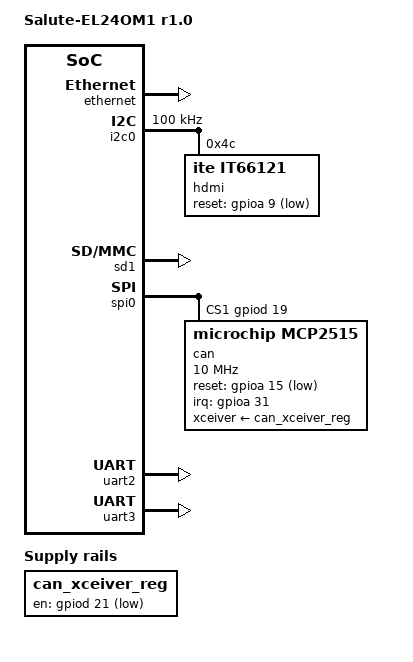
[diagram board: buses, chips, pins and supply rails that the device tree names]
/*
 * Copyright 2017 RnD Center "ELVEES", OJSC
 *
 * This program is free software; you can redistribute it and/or modify
 * it under the terms of the GNU General Public License version 2 as
 * published by the Free Software Foundation.
 */

/dts-v1/;

#include <dt-bindings/interrupt-controller/irq.h>

#include "mcom02-salute-el24pm1-r1.0.dtsi"

/ {
	model = "Salute-EL24OM1 r1.0";

	chosen {
		bootargs = "console=ttyS0,115200";
	};

	aliases {
		spi0 = &spi0;
	};

	clocks {
		can_clk: can_clk {
			#clock-cells = <0>;
			compatible = "fixed-clock";
			clock-frequency = <8000000>;
		};
	};

	regulators {
		can_xceiver_reg: regulator@1 {
			compatible = "regulator-fixed";
			reg = <0x1>;
			regulator-name = "can-xceiver";
			gpio = <&gpiod 21 0>;
		};
	};
};

&ethernet {
	status = "okay";
};

&framebuffer {
	status = "okay";
	output = <&hdmi>;
};

&i2c0 {
	status = "okay";
	clock-frequency = <100000>;

	hdmi: it66121@4c {
		compatible = "ite,it66121";
		reg = <0x4c>;
		reset-gpios = <&gpioa 9 GPIO_ACTIVE_LOW>;
	};
};

&sd1 {
	status = "okay";
};

&sound {
	status = "okay";
};

&spi0 {
	num-cs = <2>;
	/* Third argument of "cs-gpios" property is set to 0,
	 * because it is ignored by the SPI driver. */
	cs-gpios = <&gpiod 18 0>, <&gpiod 19 0>;

	can: can@1 {
		compatible = "microchip,mcp2515";
		reg = <0x1>;
		spi-max-frequency = <10000000>;
		clocks = <&can_clk>;
		interrupt-parent = <&gpioa>;
		interrupts = <31 GPIO_ACTIVE_HIGH>;
		reset-gpios = <&gpioa 15 GPIO_ACTIVE_LOW>;
		xceiver-supply = <&can_xceiver_reg>;
	};
};

&uart2 {
	status = "okay";
};

/* RS-485 is used as physical layer for UART3 */
&uart3 {
	status = "okay";
};
